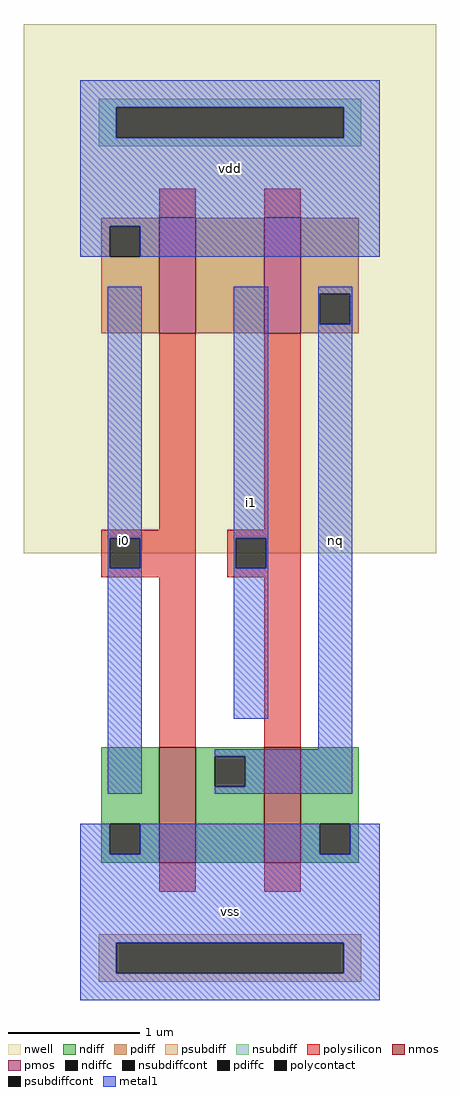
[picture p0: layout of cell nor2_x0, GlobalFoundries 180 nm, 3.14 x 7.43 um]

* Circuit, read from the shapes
.subckt nor2_x0 vss vdd nq i0 i1
XM1 nq i0 vss vss nfet_03v3 w=0.88u l=0.28u
XM2 vss i1 nq vss nfet_03v3 w=0.88u l=0.28u
XM3 n1 i0 vdd vdd pfet_03v3 w=0.88u l=0.28u
XM4 nq i1 n1 vdd pfet_03v3 w=0.88u l=0.28u
.ends

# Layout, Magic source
magic
tech gf180mcuD
magscale 1 10
<< nwell >>
rect -86 680 542 1486
<< nmos >>
rect 120 209 176 385
rect 280 209 336 385
<< pmos >>
rect 120 1015 176 1191
rect 280 1015 336 1191
<< ndiff >>
rect 32 268 120 385
rect 32 222 45 268
rect 91 222 120 268
rect 32 209 120 222
rect 176 371 280 385
rect 176 325 205 371
rect 251 325 280 371
rect 176 209 280 325
rect 336 268 424 385
rect 336 222 365 268
rect 411 222 424 268
rect 336 209 424 222
<< pdiff >>
rect 32 1178 120 1191
rect 32 1132 45 1178
rect 91 1132 120 1178
rect 32 1015 120 1132
rect 176 1015 280 1191
rect 336 1075 424 1191
rect 336 1029 365 1075
rect 411 1029 424 1075
rect 336 1015 424 1029
<< ndiffc >>
rect 45 222 91 268
rect 205 325 251 371
rect 365 222 411 268
<< pdiffc >>
rect 45 1132 91 1178
rect 365 1029 411 1075
<< psubdiff >>
rect 28 87 428 100
rect 28 41 55 87
rect 401 41 428 87
rect 28 28 428 41
<< nsubdiff >>
rect 28 1359 428 1372
rect 28 1313 55 1359
rect 401 1313 428 1359
rect 28 1300 428 1313
<< psubdiffcont >>
rect 55 41 401 87
<< nsubdiffcont >>
rect 55 1313 401 1359
<< polysilicon >>
rect 120 1191 176 1235
rect 280 1191 336 1235
rect 120 716 176 1015
rect 280 716 336 1015
rect 32 703 176 716
rect 32 657 45 703
rect 91 657 176 703
rect 32 644 176 657
rect 224 703 336 716
rect 224 657 237 703
rect 283 657 336 703
rect 224 644 336 657
rect 120 385 176 644
rect 280 385 336 644
rect 120 165 176 209
rect 280 165 336 209
<< polycontact >>
rect 45 657 91 703
rect 237 657 283 703
<< metal1 >>
rect 0 1359 456 1400
rect 0 1313 55 1359
rect 401 1313 456 1359
rect 0 1178 456 1313
rect 0 1132 45 1178
rect 91 1132 456 1178
rect 42 703 94 1086
rect 42 657 45 703
rect 91 657 94 703
rect 42 314 94 657
rect 234 703 286 1086
rect 234 657 237 703
rect 283 657 286 703
rect 234 428 286 657
rect 362 1075 414 1086
rect 362 1029 365 1075
rect 411 1029 414 1075
rect 362 382 414 1029
rect 205 371 414 382
rect 251 325 414 371
rect 205 314 414 325
rect 0 222 45 268
rect 91 222 365 268
rect 411 222 456 268
rect 0 87 456 222
rect 0 41 55 87
rect 401 41 456 87
rect 0 0 456 41
<< labels >>
rlabel metal1 s 0 0 456 268 4 vss
port 3 nsew
rlabel metal1 s 0 1132 456 1400 4 vdd
port 5 nsew
rlabel metal1 s 362 314 414 1086 4 nq
port 7 nsew
rlabel metal1 s 42 314 94 1086 4 i0
port 9 nsew
rlabel metal1 s 234 428 286 1086 4 i1
port 11 nsew
<< end >>
